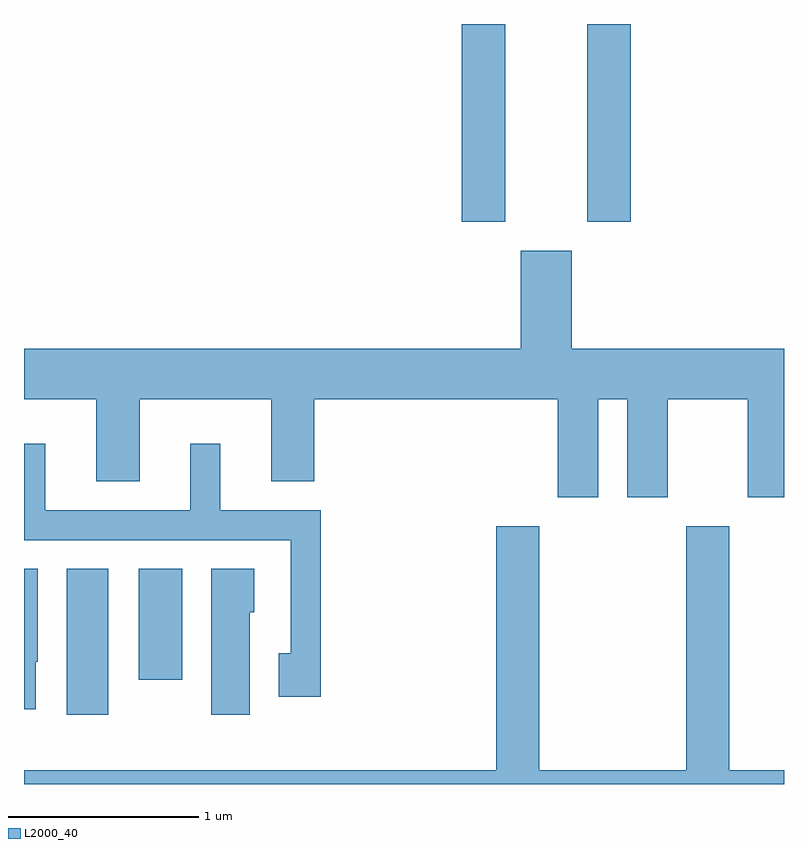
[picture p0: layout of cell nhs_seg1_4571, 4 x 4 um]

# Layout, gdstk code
import gdstk
lib = gdstk.Library(unit=1e-6, precision=1e-09)
def R(c, l, rs):  # rectangles x0, y0, x1, y1
    for r in rs: c.add(gdstk.rectangle(r[:2], r[2:], *l))
def P(c, l, *ps):  # polygons
    for p in ps: c.add(gdstk.Polygon(p, *l))
L2000_40 = (2000, 40)

nhs_seg1_4571 = lib.new_cell('nhs_seg1_4571')
R(nhs_seg1_4571, L2000_40, [(321.836,960.076,322.054,960.844), (322.216,960.261,322.444,960.844), (323.916,962.671,324.144,963.712), (324.576,962.671,324.804,963.712)])
P(nhs_seg1_4571, L2000_40, [(321.611,961.736),(321.991,961.736),(321.991,961.306),(322.219,961.306),(322.219,961.736),(322.911,961.736),(322.911,961.306),(323.139,961.306),(323.139,961.736),(324.421,961.736),(324.421,961.221),(324.634,961.221),(324.634,961.736),(324.786,961.736),(324.786,961.221),(324.999,961.221),(324.999,961.736),(325.421,961.736),(325.421,961.221),(325.611,961.221),(325.611,962.004),(324.494,962.004),(324.494,962.519),(324.226,962.519),(324.226,962.004),(321.611,962.004)],
  [(323.174,961.154),(322.644,961.154),(322.644,961.503),(322.486,961.503),(322.486,961.154),(321.724,961.154),(321.724,961.503),(321.611,961.503),(321.611,960.996),(323.016,960.996),(323.016,960.399),(322.951,960.399),(322.951,960.171),(323.174,960.171)],
  [(325.611,959.784),(325.324,959.784),(325.324,961.069),(325.096,961.069),(325.096,959.784),(324.324,959.784),(324.324,961.069),(324.096,961.069),(324.096,959.784),(321.611,959.784),(321.611,959.712),(325.611,959.712)],
  [(321.674,960.355),(321.684,960.355),(321.684,960.844),(321.611,960.844),(321.611,960.106),(321.674,960.106)],
  [(322.799,960.616),(322.824,960.616),(322.824,960.844),(322.596,960.844),(322.596,960.076),(322.799,960.076)])

lib.write_gds('nhs_seg1_4571.gds')
